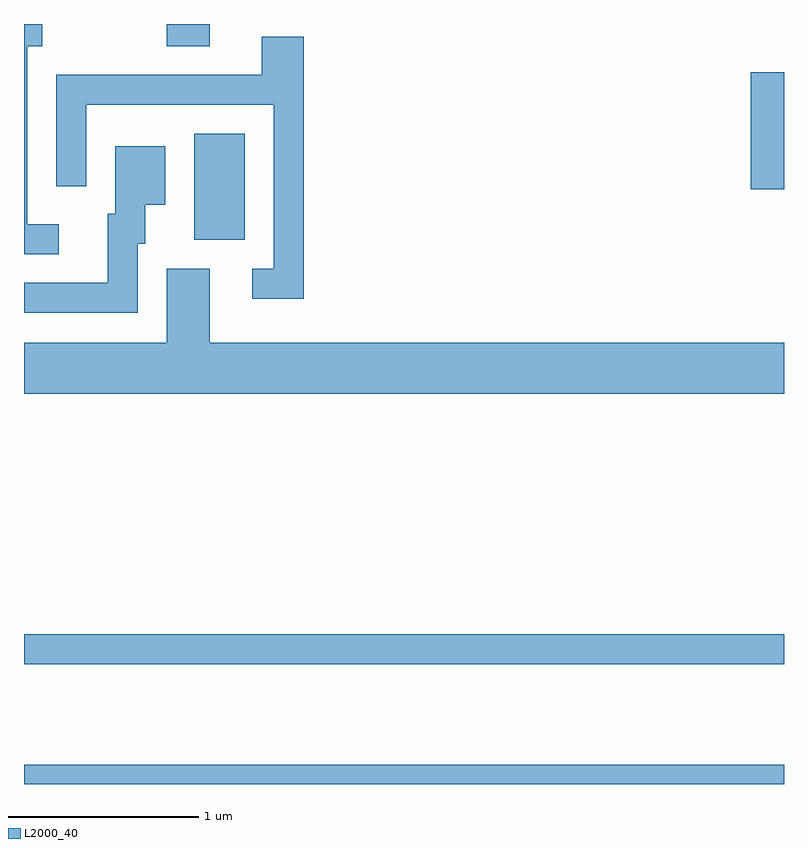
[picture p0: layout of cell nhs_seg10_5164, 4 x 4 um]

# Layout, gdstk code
import gdstk
lib = gdstk.Library(unit=1e-6, precision=1e-09)
def R(c, l, rs):  # rectangles x0, y0, x1, y1
    for r in rs: c.add(gdstk.rectangle(r[:2], r[2:], *l))
def P(c, l, *ps):  # polygons
    for p in ps: c.add(gdstk.Polygon(p, *l))
L2000_40 = (2000, 40)

nhs_seg10_5164 = lib.new_cell('nhs_seg10_5164')
R(nhs_seg10_5164, L2000_40, [(337.611,2118.522,341.611,2118.624), (337.611,2119.151,341.611,2119.309), (338.506,2121.386,338.774,2121.944), (341.436,2121.651,341.611,2122.269), (338.361,2122.406,338.589,2122.522)])
P(nhs_seg10_5164, L2000_40, [(337.793,2121.469),(337.629,2121.469),(337.629,2122.406),(337.708,2122.406),(337.708,2122.522),(337.611,2122.522),(337.611,2121.311),(337.793,2121.311)],
  [(339.084,2122.454),(338.861,2122.454),(338.861,2122.254),(337.781,2122.254),(337.781,2121.668),(337.939,2121.668),(337.939,2122.096),(338.926,2122.096),(338.926,2121.234),(338.813,2121.234),(338.813,2121.076),(339.084,2121.076)],
  [(338.209,2121.366),(338.249,2121.366),(338.249,2121.571),(338.354,2121.571),(338.354,2121.879),(338.091,2121.879),(338.091,2121.524),(338.051,2121.524),(338.051,2121.159),(337.611,2121.159),(337.611,2121.001),(338.209,2121.001)],
  [(341.611,2120.844),(338.589,2120.844),(338.589,2121.234),(338.361,2121.234),(338.361,2120.844),(337.611,2120.844),(337.611,2120.576),(341.611,2120.576)])

lib.write_gds('nhs_seg10_5164.gds')
